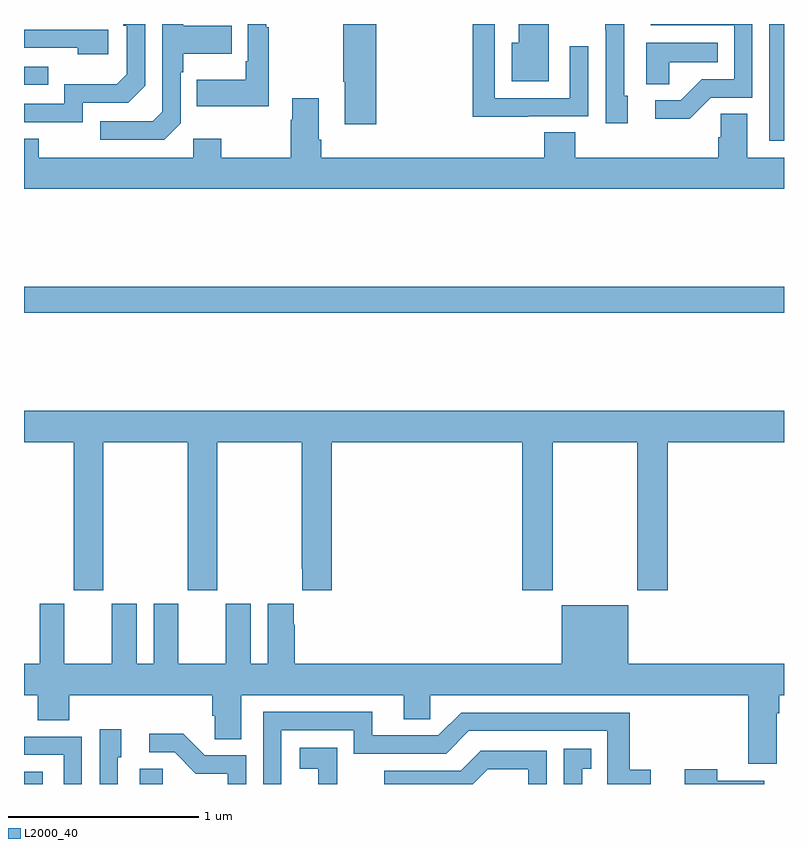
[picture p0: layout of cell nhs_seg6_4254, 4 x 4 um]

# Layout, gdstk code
import gdstk
lib = gdstk.Library(unit=1e-6, precision=1e-09)
def R(c, l, rs):  # rectangles x0, y0, x1, y1
    for r in rs: c.add(gdstk.rectangle(r[:2], r[2:], *l))
def P(c, l, *ps):  # polygons
    for p in ps: c.add(gdstk.Polygon(p, *l))
L2000_40 = (2000, 40)

nhs_seg6_4254 = lib.new_cell('nhs_seg6_4254')
R(nhs_seg6_4254, L2000_40, [(361,981.5,361.099,981.565), (361.61,981.5,361.731,981.581), (361,983.98,365,984.116), (364.923,984.885,365,985.5), (361,985.179,361.127,985.275)])
P(nhs_seg6_4254, L2000_40, [(362.855,985.5),(362.68,985.5),(362.68,985.195),(362.687,985.195),(362.687,984.972),(362.855,984.972)],
  [(362.287,985.483),(362.275,985.483),(362.275,985.5),(362.178,985.5),(362.178,985.303),(362.166,985.303),(362.166,985.207),(361.909,985.207),(361.909,985.067),(362.287,985.067)],
  [(363.763,985.5),(363.605,985.5),(363.605,985.402),(363.566,985.402),(363.566,985.199),(363.763,985.199)],
  [(363.653,985.014),(363.969,985.014),(363.969,985.384),(363.873,985.384),(363.873,985.11),(363.477,985.11),(363.477,985.5),(363.361,985.5),(363.361,985.013),(363.653,985.013)],
  [(361.308,985.086),(361.548,985.086),(361.638,985.176),(361.638,985.5),(361.522,985.5),(361.522,985.49),(361.542,985.49),(361.542,985.236),(361.489,985.183),(361.212,985.183),(361.212,985.08),(361,985.08),(361,984.984),(361.308,984.984)],
  [(364.506,985.005),(364.614,985.113),(364.833,985.113),(364.833,985.5),(364.299,985.5),(364.299,985.494),(364.737,985.494),(364.737,985.209),(364.568,985.209),(364.457,985.098),(364.323,985.098),(364.323,985.001),(364.501,985.001)],
  [(364.177,985.122),(364.158,985.122),(364.158,985.5),(364.06,985.5),(364.06,985.471),(364.062,985.471),(364.062,984.978),(364.177,984.978)],
  [(361.824,984.978),(361.824,985.247),(361.837,985.247),(361.837,985.343),(362.093,985.343),(362.093,985.491),(361.837,985.491),(361.837,985.5),(361.728,985.5),(361.728,985.038),(361.677,984.987),(361.401,984.987),(361.401,984.891),(361.737,984.891)],
  [(361.444,985.47),(361,985.47),(361,985.374),(361.283,985.374),(361.283,985.34),(361.444,985.34)],
  [(364.395,985.298),(364.652,985.298),(364.652,985.402),(364.274,985.402),(364.274,985.183),(364.395,985.183)],
  [(365,984.796),(364.807,984.796),(364.807,985.028),(364.668,985.028),(364.668,984.905),(364.655,984.905),(364.655,984.796),(363.902,984.796),(363.902,984.929),(363.737,984.929),(363.737,984.796),(362.564,984.796),(362.564,984.892),(362.551,984.892),(362.551,985.108),(362.411,985.108),(362.411,984.995),(362.404,984.995),(362.404,984.796),(362.037,984.796),(362.037,984.895),(361.89,984.895),(361.89,984.796),(361.077,984.796),(361.077,984.895),(361,984.895),(361,984.632),(365,984.632)],
  [(361.416,983.3),(361.861,983.3),(361.861,982.521),(362.016,982.521),(362.016,983.3),(362.461,983.3),(362.461,982.633),(362.465,982.633),(362.465,982.521),(362.621,982.521),(362.621,983.3),(363.623,983.3),(363.623,982.521),(363.783,982.521),(363.783,983.3),(364.228,983.3),(364.228,982.521),(364.388,982.521),(364.388,983.3),(365,983.3),(365,983.464),(361,983.464),(361,983.3),(361.261,983.3),(361.261,982.521),(361.416,982.521)],
  [(364.963,981.872),(364.976,981.872),(364.976,981.968),(365,981.968),(365,982.132),(364.18,982.132),(364.18,982.441),(363.83,982.441),(363.83,982.132),(362.426,982.132),(362.426,982.337),(362.419,982.337),(362.419,982.45),(362.282,982.45),(362.282,982.132),(362.194,982.132),(362.194,982.45),(362.063,982.45),(362.063,982.132),(361.813,982.132),(361.813,982.45),(361.682,982.45),(361.682,982.132),(361.594,982.132),(361.594,982.45),(361.463,982.45),(361.463,982.132),(361.213,982.132),(361.213,982.45),(361.082,982.45),(361.082,982.132),(361,982.132),(361,981.968),(361.073,981.968),(361.073,981.835),(361.238,981.835),(361.238,981.968),(361.991,981.968),(361.991,981.859),(362.004,981.859),(362.004,981.736),(362.143,981.736),(362.143,981.968),(362.999,981.968),(362.999,981.841),(363.138,981.841),(363.138,981.968),(364.811,981.968),(364.811,981.606),(364.963,981.606)],
  [(362.355,981.783),(362.736,981.783),(362.736,981.66),(363.222,981.66),(363.342,981.78),(364.071,981.78),(364.071,981.5),(364.298,981.5),(364.298,981.574),(364.187,981.574),(364.187,981.876),(363.3,981.876),(363.18,981.756),(362.833,981.756),(362.833,981.879),(362.259,981.879),(362.259,981.5),(362.355,981.5)],
  [(361.494,981.642),(361.513,981.642),(361.513,981.787),(361.398,981.787),(361.398,981.5),(361.494,981.5)],
  [(362.169,981.651),(361.95,981.651),(361.837,981.764),(361.659,981.764),(361.659,981.666),(361.793,981.666),(361.904,981.555),(362.073,981.555),(362.073,981.5),(362.169,981.5)],
  [(361.305,981.75),(361,981.75),(361,981.654),(361.209,981.654),(361.209,981.5),(361.305,981.5)],
  [(362.649,981.691),(362.451,981.691),(362.451,981.581),(362.549,981.581),(362.549,981.5),(362.649,981.5)],
  [(363.937,981.579),(363.986,981.579),(363.986,981.685),(363.84,981.685),(363.84,981.5),(363.937,981.5)],
  [(363.44,981.578),(363.654,981.578),(363.654,981.5),(363.75,981.5),(363.75,981.675),(363.404,981.675),(363.299,981.57),(362.896,981.57),(362.896,981.5),(363.362,981.5)],
  [(364.897,981.517),(364.649,981.517),(364.649,981.577),(364.478,981.577),(364.478,981.5),(364.897,981.5)])

lib.write_gds('nhs_seg6_4254.gds')
